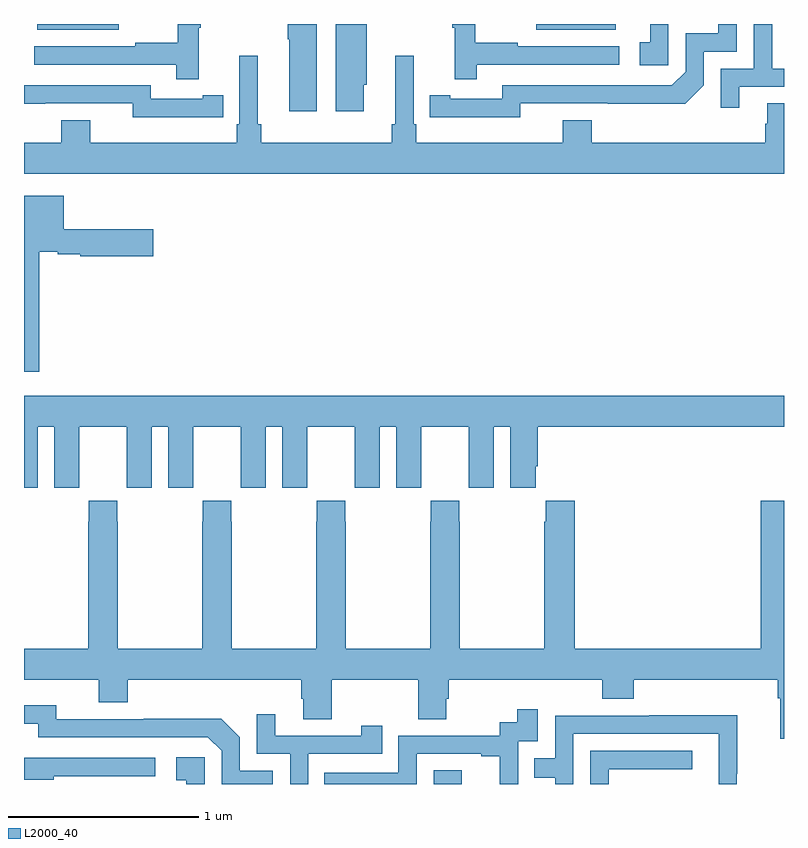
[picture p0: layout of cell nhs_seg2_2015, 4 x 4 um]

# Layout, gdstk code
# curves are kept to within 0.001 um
import gdstk
lib = gdstk.Library(unit=1e-6, precision=1e-09)
def R(c, l, rs):  # rectangles x0, y0, x1, y1
    for r in rs: c.add(gdstk.rectangle(r[:2], r[2:], *l))
def P(c, l, *ps):  # polygons
    for p in ps: c.add(gdstk.Polygon(p, *l))
L2000_40 = (2000, 40)

nhs_seg2_2015 = lib.new_cell('nhs_seg2_2015')
R(nhs_seg2_2015, L2000_40, [(219.156,601.8,219.304,601.873), (217.07,605.771,217.498,605.8), (219.695,605.771,220.114,605.8)])
P(nhs_seg2_2015, L2000_40, [(220.392,605.8),(220.295,605.8),(220.295,605.703),(220.242,605.703),(220.242,605.583),(220.392,605.583)],
  [(218.542,605.8),(218.389,605.8),(218.389,605.719),(218.396,605.719),(218.396,605.34),(218.542,605.34)],
  [(218.788,605.481),(218.803,605.481),(218.803,605.8),(218.642,605.8),(218.642,605.34),(218.788,605.34)],
  [(217.919,605.779),(217.93,605.779),(217.93,605.8),(217.809,605.8),(217.809,605.702),(217.585,605.702),(217.585,605.682),(217.053,605.682),(217.053,605.586),(217.801,605.586),(217.801,605.508),(217.919,605.508)],
  [(219.612,605.382),(220.48,605.381),(220.578,605.478),(220.578,605.655),(220.752,605.655),(220.752,605.8),(220.655,605.8),(220.655,605.751),(220.482,605.751),(220.482,605.55),(220.41,605.478),(219.516,605.478),(219.516,605.406),(219.244,605.406),(219.244,605.426),(219.136,605.426),(219.136,605.31),(219.612,605.309)],
  [(219.383,605.586),(220.132,605.586),(220.132,605.682),(219.599,605.682),(219.599,605.702),(219.376,605.702),(219.376,605.8),(219.255,605.8),(219.255,605.779),(219.266,605.779),(219.266,605.508),(219.383,605.508)],
  [(220.765,605.469),(221,605.469),(221,605.565),(220.938,605.565),(220.938,605.8),(220.842,605.8),(220.842,605.565),(220.668,605.565),(220.668,605.358),(220.765,605.358)],
  [(221,605.384),(220.913,605.384),(220.913,605.274),(220.901,605.274),(220.901,605.176),(219.989,605.176),(219.989,605.293),(219.836,605.293),(219.836,605.176),(219.065,605.176),(219.065,605.272),(219.051,605.272),(219.051,605.632),(218.954,605.632),(218.954,605.272),(218.935,605.272),(218.935,605.176),(218.249,605.176),(218.249,605.272),(218.23,605.272),(218.23,605.632),(218.133,605.632),(218.133,605.272),(218.12,605.272),(218.12,605.176),(217.348,605.176),(217.348,605.293),(217.196,605.293),(217.196,605.176),(217,605.176),(217,605.012),(221,605.012)],
  [(217.94,605.31),(218.048,605.31),(218.048,605.426),(217.94,605.426),(217.94,605.406),(217.668,605.406),(217.668,605.478),(217,605.478),(217,605.381),(217.112,605.381),(217.112,605.382),(217.572,605.382),(217.572,605.309),(217.94,605.309)],
  [(217.081,604.601),(217.178,604.601),(217.178,604.589),(217.296,604.589),(217.296,604.577),(217.681,604.577),(217.681,604.719),(217.21,604.719),(217.21,604.897),(217,604.897),(217,603.969),(217.081,603.969)],
  [(217.072,603.68),(217.16,603.68),(217.16,603.36),(217.29,603.36),(217.29,603.472),(217.291,603.472),(217.291,603.68),(217.541,603.68),(217.541,603.472),(217.542,603.472),(217.542,603.36),(217.672,603.36),(217.672,603.68),(217.76,603.68),(217.76,603.36),(217.89,603.36),(217.89,603.472),(217.891,603.472),(217.891,603.68),(218.141,603.68),(218.141,603.472),(218.142,603.472),(218.142,603.36),(218.272,603.36),(218.272,603.68),(218.36,603.68),(218.36,603.36),(218.49,603.36),(218.49,603.472),(218.491,603.472),(218.491,603.68),(218.741,603.68),(218.741,603.472),(218.742,603.472),(218.742,603.36),(218.872,603.36),(218.872,603.68),(218.96,603.68),(218.96,603.36),(219.09,603.36),(219.09,603.472),(219.091,603.472),(219.091,603.68),(219.341,603.68),(219.341,603.472),(219.342,603.472),(219.342,603.36),(219.472,603.36),(219.472,603.68),(219.56,603.68),(219.56,603.36),(219.694,603.36),(219.694,603.472),(219.704,603.472),(219.704,603.68),(221,603.68),(221,603.844),(217,603.844),(217,603.36),(217.072,603.36)],
  [(221,603.292),(220.877,603.292),(220.877,602.512),(219.899,602.512),(219.899,603.292),(219.745,603.292),(219.745,603.179),(219.739,603.179),(219.739,602.512),(219.294,602.512),(219.294,603.179),(219.291,603.179),(219.291,603.292),(219.141,603.292),(219.141,603.179),(219.139,603.179),(219.139,602.512),(218.694,602.512),(218.694,603.179),(218.691,603.179),(218.691,603.292),(218.541,603.292),(218.541,603.179),(218.539,603.179),(218.539,602.512),(218.094,602.512),(218.094,603.179),(218.091,603.179),(218.091,603.292),(217.941,603.292),(217.941,603.179),(217.939,603.179),(217.939,602.512),(217.494,602.512),(217.494,603.179),(217.491,603.179),(217.491,603.292),(217.341,603.292),(217.341,603.179),(217.339,603.179),(217.339,602.512),(217,602.512),(217,602.348),(217.394,602.348),(217.394,602.231),(217.547,602.231),(217.547,602.348),(218.459,602.348),(218.459,602.25),(218.471,602.25),(218.471,602.14),(218.619,602.14),(218.619,602.348),(219.076,602.348),(219.076,602.14),(219.223,602.14),(219.223,602.25),(219.236,602.25),(219.236,602.348),(220.043,602.348),(220.043,602.249),(220.208,602.249),(220.208,602.348),(220.967,602.348),(220.967,602.252),(220.979,602.252),(220.979,602.039),(221,602.039)],
  [(218.31,601.869),(218.136,601.869),(218.136,602.046),(218.038,602.144),(217.63,602.144),(217.63,602.142),(217.17,602.142),(217.17,602.215),(217,602.215),(217,602.118),(217.074,602.118),(217.074,602.046),(217.968,602.046),(218.04,601.974),(218.04,601.8),(218.31,601.8)],
  [(219.066,601.959),(219.407,601.959),(219.407,601.947),(219.503,601.947),(219.503,601.8),(219.6,601.8),(219.6,602.025),(219.705,602.025),(219.705,602.194),(219.597,602.194),(219.597,602.124),(219.504,602.124),(219.504,602.055),(218.97,602.055),(218.97,601.86),(218.581,601.86),(218.581,601.8),(219.066,601.8)],
  [(218.496,601.959),(218.885,601.959),(218.885,602.107),(218.774,602.107),(218.774,602.055),(218.323,602.055),(218.323,602.167),(218.226,602.167),(218.226,601.959),(218.4,601.959),(218.4,601.8),(218.496,601.8)],
  [(219.891,602.064),(220.656,602.064),(220.656,601.8),(220.752,601.8),(220.752,601.855),(220.755,601.855),(220.755,602.162),(220.291,602.162),(220.291,602.16),(219.795,602.16),(219.795,601.935),(219.685,601.935),(219.685,601.834),(219.795,601.834),(219.795,601.8),(219.891,601.8)],
  [(220.077,601.878),(220.516,601.878),(220.516,601.974),(219.981,601.974),(219.981,601.8),(220.077,601.8)],
  [(217.95,601.942),(217.8,601.942),(217.8,601.821),(217.853,601.821),(217.853,601.8),(217.95,601.8)],
  [(217.157,601.842),(217.69,601.842),(217.69,601.938),(217,601.938),(217,601.822),(217.157,601.822)])

lib.write_gds('nhs_seg2_2015.gds')
